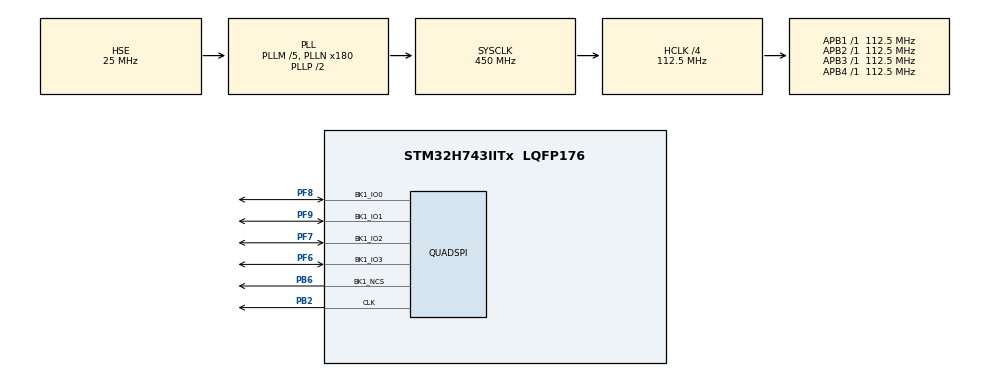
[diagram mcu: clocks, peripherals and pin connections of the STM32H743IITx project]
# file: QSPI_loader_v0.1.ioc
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CORTEX_M7.MPU_Control=__NULL
CORTEX_M7.default_mode_Activation=1
Mcu.Family=STM32H7
Mcu.Name=STM32H743IITx
Mcu.Package=LQFP176
NVIC.PriorityGroup=NVIC_PRIORITYGROUP_4
NVIC.TIM1_UP_IRQn=true\:15\:0\:false\:false\:true\:false\:true\:true
NVIC.TimeBase=TIM1_UP_IRQn
NVIC.TimeBaseIP=TIM1
PB2.GPIO_Speed=GPIO_SPEED_FREQ_VERY_HIGH
PB2.Mode=Single Bank 1
PB2.Signal=QUADSPI_CLK
PB6.GPIO_PuPd=GPIO_PULLUP
PB6.GPIO_Speed=GPIO_SPEED_FREQ_VERY_HIGH
PB6.Mode=Single Bank 1
PB6.Signal=QUADSPI_BK1_NCS
PF6.GPIO_Speed=GPIO_SPEED_FREQ_VERY_HIGH
PF6.Mode=Single Bank 1
PF6.Signal=QUADSPI_BK1_IO3
PF7.GPIO_Speed=GPIO_SPEED_FREQ_VERY_HIGH
PF7.Mode=Single Bank 1
PF7.Signal=QUADSPI_BK1_IO2
PF8.GPIO_Speed=GPIO_SPEED_FREQ_VERY_HIGH
PF8.Mode=Single Bank 1
PF8.Signal=QUADSPI_BK1_IO0
PF9.GPIO_Speed=GPIO_SPEED_FREQ_VERY_HIGH
PF9.Mode=Single Bank 1
PF9.Signal=QUADSPI_BK1_IO1
PH0-OSC_IN\ (PH0).Mode=HSE-External-Oscillator
PH0-OSC_IN\ (PH0).Signal=RCC_OSC_IN
PH1-OSC_OUT\ (PH1).Mode=HSE-External-Oscillator
PH1-OSC_OUT\ (PH1).Signal=RCC_OSC_OUT
ProjectManager.HeapSize=0x200
ProjectManager.StackSize=0x400
ProjectManager.TargetToolchain=CMake
QUADSPI.ChipSelectHighTime=QSPI_CS_HIGH_TIME_5_CYCLE
QUADSPI.ClockPrescaler=3
QUADSPI.FifoThreshold=4
QUADSPI.FlashSize=25
QUADSPI.SampleShifting=QSPI_SAMPLE_SHIFTING_HALFCYCLE
RCC.ADCFreq_Value=100000000
RCC.APB1Freq_Value=112500000
RCC.APB2Freq_Value=112500000
RCC.APB3Freq_Value=112500000
RCC.APB4Freq_Value=112500000
RCC.CortexFreq_Value=450000000
RCC.DIVM1=5
RCC.DIVM2=8
RCC.DIVN1=180
RCC.DIVN2=64
RCC.HCLKFreq_Value=112500000
RCC.HPRE=RCC_HCLK_DIV4
RCC.PLLSourceVirtual=RCC_PLLSOURCE_HSE
RCC.SYSCLKFreq_VALUE=450000000
RCC.SYSCLKSource=RCC_SYSCLKSOURCE_PLLCLK
RCC.USBFreq_Value=450000000
VP_MEMORYMAP_VS_MEMORYMAP.Mode=CurAppReg
VP_SYS_VS_tim1.Mode=TIM1
board=custom

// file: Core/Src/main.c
/* USER CODE BEGIN Header */
/**
  ******************************************************************************
  * @file           : main.c
  * @brief          : Main program body
  ******************************************************************************
  * @attention
  *
  * Copyright (c) 2025 STMicroelectronics.
  * All rights reserved.
  *
  * This software is licensed under terms that can be found in the LICENSE file
  * in the root directory of this software component.
  * If no LICENSE file comes with this software, it is provided AS-IS.
  *
  ******************************************************************************
  */
/* USER CODE END Header */
#include "main.h"

/* USER CODE BEGIN PM */
#define VECT_TAB_OFFSET      0x00000000UL
#define APPLICATION_ADDRESS  0x90000000UL
/* USER CODE END PM */

QSPI_HandleTypeDef hqspi;

void SystemClock_Config(void);
static void MX_GPIO_Init(void);
static void MX_QUADSPI_Init(void);

/* USER CODE BEGIN 0 */
typedef  void (*pFunction)(void);
pFunction JumpToApplication;

static void JumpToApp(void)
 {
     HAL_MPU_Disable();
     SCB_InvalidateICache();  // 失效指令快取
     SCB_InvalidateDCache();  // 失效資料快取

     /* 关闭滴答定时器，复位到默认值 */
     SysTick->CTRL = 0;
     SysTick->LOAD = 0;
     SysTick->VAL = 0;
     /* 关闭所有中断，清除所有中断挂起标志 */
     for(uint8_t i = 0; i < 8; i++)
       {
           NVIC->ICER[i]=0xFFFFFFFF;
           NVIC->ICPR[i]=0xFFFFFFFF;
       }
     /* 在RTOS工程，这条语句很重要，设置为特权级模式，使用MSP指针 */
     __set_CONTROL(0);
     __disable_irq();
     __set_PRIMASK(1);

     JumpToApplication = (pFunction) (*(__IO uint32_t*)(APPLICATION_ADDRESS + 4));
    __set_MSP(*(__IO uint32_t*) APPLICATION_ADDRESS);
    JumpToApplication();
     /* 跳转成功的话，不会执行到这里，用户可以在这里添加代码 */
     while (1)
     {
    }
 }

/* USER CODE END 0 */

int main(void)
{

  /* MCU Configuration--------------------------------------------------------*/

  /* Reset of all peripherals, Initializes the Flash interface and the Systick. */
  HAL_Init();

  /* Configure the system clock */
  SystemClock_Config();

  /* Initialize all configured peripherals */
  MX_GPIO_Init();
  MX_QUADSPI_Init();
  /* USER CODE BEGIN 2 */
  JumpToApp();

  //JumpToAddressWithSetup();
  /* USER CODE END 2 */

  /* Infinite loop */
  while (1)
  {

  }
}

void SystemClock_Config(void)
{
  RCC_OscInitTypeDef RCC_OscInitStruct = {0};
  RCC_ClkInitTypeDef RCC_ClkInitStruct = {0};

  /** Supply configuration update enable
  */
  HAL_PWREx_ConfigSupply(PWR_LDO_SUPPLY);

  /** Configure the main internal regulator output voltage
  */
  __HAL_PWR_VOLTAGESCALING_CONFIG(PWR_REGULATOR_VOLTAGE_SCALE0);

  while(!__HAL_PWR_GET_FLAG(PWR_FLAG_VOSRDY)) {}

  /** Initializes the RCC Oscillators according to the specified parameters
  * in the RCC_OscInitTypeDef structure.
  */
  RCC_OscInitStruct.OscillatorType = RCC_OSCILLATORTYPE_HSE;
  RCC_OscInitStruct.HSEState = RCC_HSE_ON;
  RCC_OscInitStruct.PLL.PLLState = RCC_PLL_ON;
  RCC_OscInitStruct.PLL.PLLSource = RCC_PLLSOURCE_HSE;
  RCC_OscInitStruct.PLL.PLLM = 5;
  RCC_OscInitStruct.PLL.PLLN = 180;
  RCC_OscInitStruct.PLL.PLLP = 2;
  RCC_OscInitStruct.PLL.PLLQ = 2;
  RCC_OscInitStruct.PLL.PLLR = 2;
  RCC_OscInitStruct.PLL.PLLRGE = RCC_PLL1VCIRANGE_2;
  RCC_OscInitStruct.PLL.PLLVCOSEL = RCC_PLL1VCOWIDE;
  RCC_OscInitStruct.PLL.PLLFRACN = 0;
  if (HAL_RCC_OscConfig(&RCC_OscInitStruct) != HAL_OK)
  {
    Error_Handler();
  }

  /** Initializes the CPU, AHB and APB buses clocks
  */
  RCC_ClkInitStruct.ClockType = RCC_CLOCKTYPE_HCLK|RCC_CLOCKTYPE_SYSCLK
                              |RCC_CLOCKTYPE_PCLK1|RCC_CLOCKTYPE_PCLK2
                              |RCC_CLOCKTYPE_D3PCLK1|RCC_CLOCKTYPE_D1PCLK1;
  RCC_ClkInitStruct.SYSCLKSource = RCC_SYSCLKSOURCE_PLLCLK;
  RCC_ClkInitStruct.SYSCLKDivider = RCC_SYSCLK_DIV1;
  RCC_ClkInitStruct.AHBCLKDivider = RCC_HCLK_DIV4;
  RCC_ClkInitStruct.APB3CLKDivider = RCC_APB3_DIV1;
  RCC_ClkInitStruct.APB1CLKDivider = RCC_APB1_DIV1;
  RCC_ClkInitStruct.APB2CLKDivider = RCC_APB2_DIV1;
  RCC_ClkInitStruct.APB4CLKDivider = RCC_APB4_DIV1;

  if (HAL_RCC_ClockConfig(&RCC_ClkInitStruct, FLASH_LATENCY_1) != HAL_OK)
  {
    Error_Handler();
  }
}

static void MX_QUADSPI_Init(void)
{

  /* QUADSPI parameter configuration*/
  hqspi.Instance = QUADSPI;
  hqspi.Init.ClockPrescaler = 3;
  hqspi.Init.FifoThreshold = 4;
  hqspi.Init.SampleShifting = QSPI_SAMPLE_SHIFTING_HALFCYCLE;
  hqspi.Init.FlashSize = 25;
  hqspi.Init.ChipSelectHighTime = QSPI_CS_HIGH_TIME_5_CYCLE;
  hqspi.Init.ClockMode = QSPI_CLOCK_MODE_0;
  hqspi.Init.FlashID = QSPI_FLASH_ID_1;
  hqspi.Init.DualFlash = QSPI_DUALFLASH_DISABLE;
  if (HAL_QSPI_Init(&hqspi) != HAL_OK)
  {
    Error_Handler();
  }
  /* USER CODE BEGIN QUADSPI_Init 2 */
  QSPI_CommandTypeDef s_command = {0};
    QSPI_MemoryMappedTypeDef s_mem_mapped_cfg = {0};

    /* 基本配置 */
    s_command.InstructionMode = QSPI_INSTRUCTION_1_LINE;      /* 1线方式发送指令 */
    s_command.AddressSize = QSPI_ADDRESS_32_BITS;             /* 32位地址 */
    s_command.AlternateByteMode = QSPI_ALTERNATE_BYTES_NONE;  /* 无交替字节 */
    s_command.DdrMode = QSPI_DDR_MODE_DISABLE;                /* W25Q256JV不支持DDR */
    s_command.DdrHoldHalfCycle = QSPI_DDR_HHC_ANALOG_DELAY;   /* DDR模式，数据输出延迟 */
    s_command.SIOOMode = QSPI_SIOO_INST_EVERY_CMD;            /* 每次传输都发指令 */

    /* 全部采用4线 */
    s_command.Instruction = 0xEC; /* 快速读取命令 */
    s_command.AddressMode = QSPI_ADDRESS_4_LINES;                 /* 4个地址线 */
    s_command.DataMode = QSPI_DATA_4_LINES;                       /* 4个数据线 */
    s_command.DummyCycles = 6;                                    /* 空周期 */

    /* 关闭溢出计数 */
    s_mem_mapped_cfg.TimeOutActivation = QSPI_TIMEOUT_COUNTER_DISABLE;
    s_mem_mapped_cfg.TimeOutPeriod = 0;

    HAL_QSPI_MemoryMapped(&hqspi, &s_command, &s_mem_mapped_cfg);

  /* USER CODE END QUADSPI_Init 2 */

}

static void MX_GPIO_Init(void)
{

  /* GPIO Ports Clock Enable */
  __HAL_RCC_GPIOF_CLK_ENABLE();
  __HAL_RCC_GPIOH_CLK_ENABLE();
  __HAL_RCC_GPIOB_CLK_ENABLE();

}

void HAL_TIM_PeriodElapsedCallback(TIM_HandleTypeDef *htim)
{
  if (htim->Instance == TIM1)
  {
    HAL_IncTick();
  }
}

void Error_Handler(void)
{
  __disable_irq();
  while (1)
  {
  }
}
